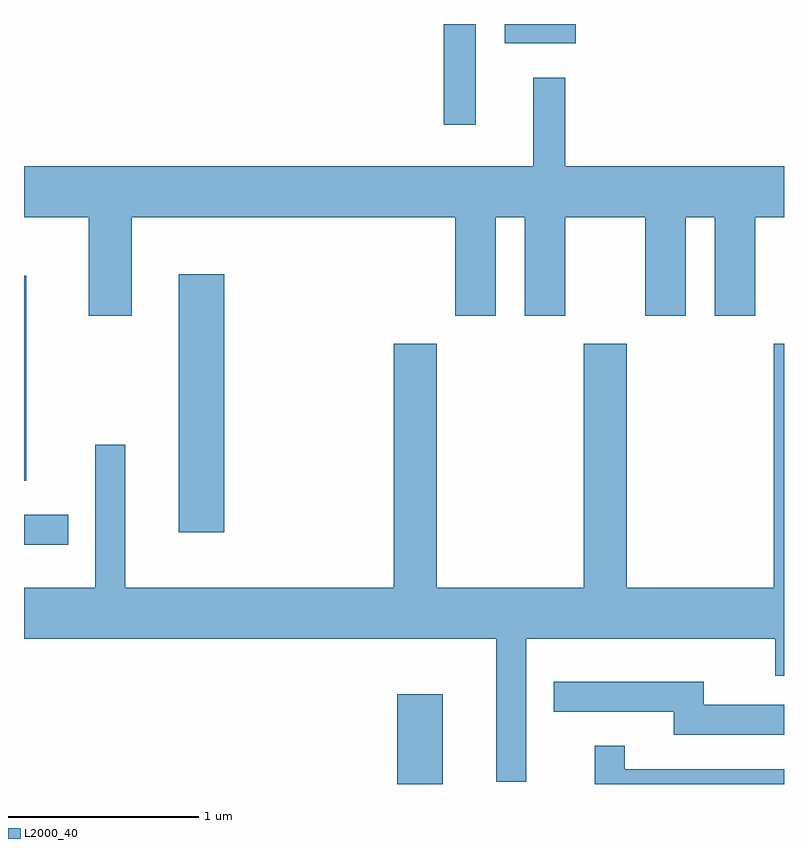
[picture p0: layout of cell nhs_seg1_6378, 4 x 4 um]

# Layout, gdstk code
import gdstk
lib = gdstk.Library(unit=1e-6, precision=1e-09)
def R(c, l, rs):  # rectangles x0, y0, x1, y1
    for r in rs: c.add(gdstk.rectangle(r[:2], r[2:], *l))
def P(c, l, *ps):  # polygons
    for p in ps: c.add(gdstk.Polygon(p, *l))
L2000_40 = (2000, 40)

nhs_seg1_6378 = lib.new_cell('nhs_seg1_6378')
R(nhs_seg1_6378, L2000_40, [(379.576,887.712,379.814,888.184), (377.611,888.971,377.843,889.129), (378.426,889.036,378.664,890.394), (377.611,889.308,377.624,890.388), (379.821,891.183,379.989,891.712), (380.141,891.611,380.514,891.712)])
P(nhs_seg1_6378, L2000_40, [(378.179,890.696),(379.881,890.696),(379.881,890.176),(380.094,890.176),(380.094,890.696),(380.246,890.696),(380.246,890.176),(380.459,890.176),(380.459,890.696),(380.881,890.696),(380.881,890.176),(381.094,890.176),(381.094,890.696),(381.246,890.696),(381.246,890.176),(381.459,890.176),(381.459,890.696),(381.611,890.696),(381.611,890.964),(380.459,890.964),(380.459,891.428),(380.291,891.428),(380.291,890.964),(377.611,890.964),(377.611,890.696),(377.951,890.696),(377.951,890.176),(378.179,890.176)],
  [(380.254,888.476),(381.566,888.476),(381.566,888.281),(381.611,888.281),(381.611,890.029),(381.556,890.029),(381.556,888.744),(380.784,888.744),(380.784,890.029),(380.556,890.029),(380.556,888.744),(379.784,888.744),(379.784,890.029),(379.556,890.029),(379.556,888.744),(378.144,888.744),(378.144,889.498),(377.986,889.498),(377.986,888.744),(377.611,888.744),(377.611,888.476),(380.096,888.476),(380.096,887.723),(380.254,887.723)],
  [(381.611,888.129),(381.189,888.129),(381.189,888.249),(380.398,888.249),(380.398,888.091),(381.031,888.091),(381.031,887.971),(381.611,887.971)],
  [(381.611,887.789),(380.774,887.789),(380.774,887.913),(380.616,887.913),(380.616,887.712),(381.611,887.712)])

lib.write_gds('nhs_seg1_6378.gds')
